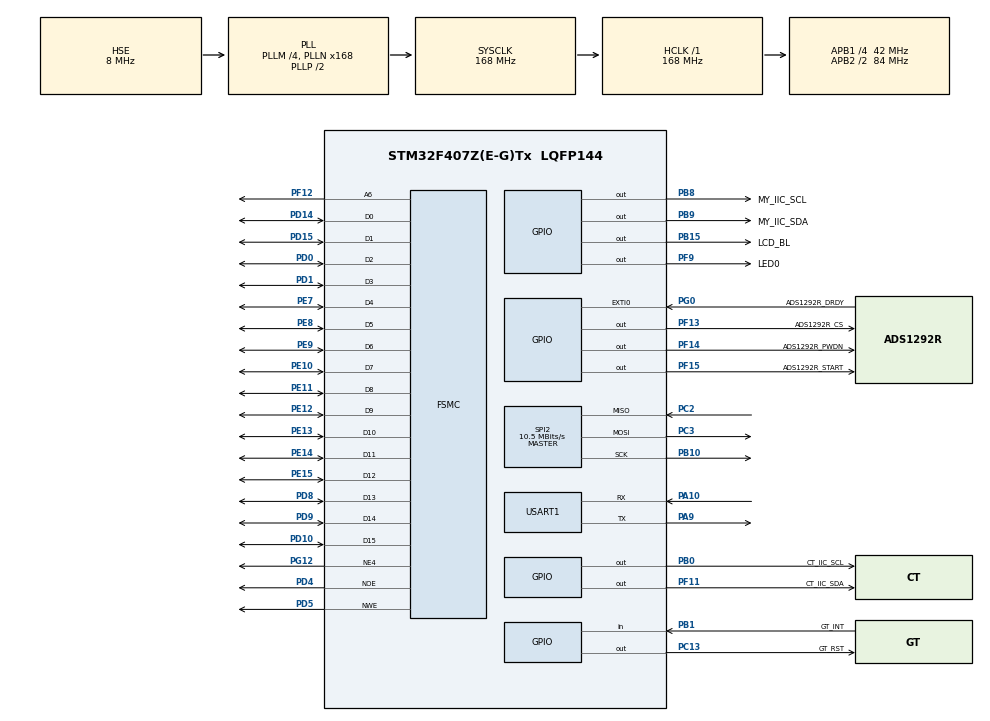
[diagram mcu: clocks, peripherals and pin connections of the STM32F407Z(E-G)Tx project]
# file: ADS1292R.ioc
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Dma.Request0=USART1_TX
Dma.USART1_TX.0.Direction=DMA_MEMORY_TO_PERIPH
Dma.USART1_TX.0.FIFOMode=DMA_FIFOMODE_DISABLE
Dma.USART1_TX.0.Instance=DMA2_Stream7
Dma.USART1_TX.0.MemDataAlignment=DMA_MDATAALIGN_BYTE
Dma.USART1_TX.0.MemInc=DMA_MINC_ENABLE
Dma.USART1_TX.0.Mode=DMA_NORMAL
Dma.USART1_TX.0.PeriphDataAlignment=DMA_PDATAALIGN_BYTE
Dma.USART1_TX.0.PeriphInc=DMA_PINC_DISABLE
Dma.USART1_TX.0.Priority=DMA_PRIORITY_LOW
FSMC.AddressSetupTime4=2
FSMC.DataSetupTime4=5
FSMC.ExtendedAddressSetupTime4=0
FSMC.ExtendedDataSetupTime4=3
FSMC.ExtendedMode4=FSMC_EXTENDED_MODE_ENABLE
Mcu.Family=STM32F4
Mcu.Name=STM32F407Z(E-G)Tx
Mcu.Package=LQFP144
NVIC.DMA2_Stream7_IRQn=true\:0\:0\:true\:false\:true\:false\:true
NVIC.EXTI0_IRQn=true\:1\:0\:true\:false\:true\:true\:true
NVIC.PriorityGroup=NVIC_PRIORITYGROUP_4
NVIC.TIM3_IRQn=true\:1\:0\:true\:false\:true\:true\:true
NVIC.TIM4_IRQn=true\:2\:0\:true\:false\:true\:true\:true
NVIC.TIM5_IRQn=true\:3\:0\:true\:false\:true\:true\:true
NVIC.USART1_IRQn=true\:0\:0\:false\:false\:true\:true\:true
PA10.Mode=Asynchronous
PA10.Signal=USART1_RX
PA13.Mode=Serial_Wire
PA13.Signal=SYS_JTMS-SWDIO
PA14.Mode=Serial_Wire
PA14.Signal=SYS_JTCK-SWCLK
PA9.Mode=Asynchronous
PA9.Signal=USART1_TX
PB0.GPIO_Label=CT_IIC_SCL
PB0.GPIO_PuPd=GPIO_PULLUP
PB0.GPIO_Speed=GPIO_SPEED_FREQ_VERY_HIGH
PB0.PinState=GPIO_PIN_SET
PB0.Signal=GPIO_Output
PB1.GPIO_Label=GT_INT
PB1.GPIO_PuPd=GPIO_PULLUP
PB1.Signal=GPIO_Input
PB10.Mode=Full_Duplex_Master
PB10.Signal=SPI2_SCK
PB15.GPIO_Label=LCD_BL
PB15.Signal=GPIO_Output
PB8.GPIO_Label=MY_IIC_SCL
PB8.GPIO_PuPd=GPIO_PULLUP
PB8.GPIO_Speed=GPIO_SPEED_FREQ_HIGH
PB8.PinState=GPIO_PIN_SET
PB8.Signal=GPIO_Output
PB9.GPIO_Label=MY_IIC_SDA
PB9.GPIO_PuPd=GPIO_PULLUP
PB9.GPIO_Speed=GPIO_SPEED_FREQ_HIGH
PB9.PinState=GPIO_PIN_SET
PB9.Signal=GPIO_Output
PC13-ANTI_TAMP.GPIO_Label=GT_RST
PC13-ANTI_TAMP.GPIO_PuPd=GPIO_PULLUP
PC13-ANTI_TAMP.GPIO_Speed=GPIO_SPEED_FREQ_LOW
PC13-ANTI_TAMP.PinState=GPIO_PIN_RESET
PC13-ANTI_TAMP.Signal=GPIO_Output
PC2.Mode=Full_Duplex_Master
PC2.Signal=SPI2_MISO
PC3.Mode=Full_Duplex_Master
PC3.Signal=SPI2_MOSI
PD0.Signal=FSMC_D2_DA2
PD1.Signal=FSMC_D3_DA3
PD10.Signal=FSMC_D15_DA15
PD14.Signal=FSMC_D0_DA0
PD15.Signal=FSMC_D1_DA1
PD4.Signal=FSMC_NOE
PD5.Signal=FSMC_NWE
PD8.Signal=FSMC_D13_DA13
PD9.Signal=FSMC_D14_DA14
PE10.Signal=FSMC_D7_DA7
PE11.Signal=FSMC_D8_DA8
PE12.Signal=FSMC_D9_DA9
PE13.Signal=FSMC_D10_DA10
PE14.Signal=FSMC_D11_DA11
PE15.Signal=FSMC_D12_DA12
PE7.Signal=FSMC_D4_DA4
PE8.Signal=FSMC_D5_DA5
PE9.Signal=FSMC_D6_DA6
PF11.GPIO_Label=CT_IIC_SDA
PF11.GPIO_ModeDefaultOutputPP=GPIO_MODE_OUTPUT_PP
PF11.GPIO_PuPd=GPIO_PULLUP
PF11.GPIO_Speed=GPIO_SPEED_FREQ_VERY_HIGH
PF11.PinState=GPIO_PIN_SET
PF11.Signal=GPIO_Output
PF12.Signal=FSMC_A6
PF13.GPIO_Label=ADS1292R_CS
PF13.GPIO_PuPd=GPIO_PULLUP
PF13.GPIO_Speed=GPIO_SPEED_FREQ_VERY_HIGH
PF13.PinState=GPIO_PIN_SET
PF13.Signal=GPIO_Output
PF14.GPIO_Label=ADS1292R_PWDN
PF14.PinState=GPIO_PIN_SET
PF14.Signal=GPIO_Output
PF15.GPIO_Label=ADS1292R_START
PF15.PinState=GPIO_PIN_SET
PF15.Signal=GPIO_Output
PF9.GPIO_Label=LED0
PF9.PinState=GPIO_PIN_SET
PF9.Signal=GPIO_Output
PG0.GPIO_Label=ADS1292R_DRDY
PG0.GPIO_ModeDefaultEXTI=GPIO_MODE_IT_FALLING
PG0.Signal=GPXTI0
PG12.Mode=NorPsramChipSelect4_4
PG12.Signal=FSMC_NE4
PH0-OSC_IN.Mode=HSE-External-Oscillator
PH0-OSC_IN.Signal=RCC_OSC_IN
PH1-OSC_OUT.Mode=HSE-External-Oscillator
PH1-OSC_OUT.Signal=RCC_OSC_OUT
ProjectManager.HeapSize=0x200
ProjectManager.StackSize=0x400
ProjectManager.TargetToolchain=SW4STM32
RCC.48MHZClocksFreq_Value=84000000
RCC.AHBFreq_Value=168000000
RCC.APB1CLKDivider=RCC_HCLK_DIV4
RCC.APB1Freq_Value=42000000
RCC.APB1TimFreq_Value=84000000
RCC.APB2CLKDivider=RCC_HCLK_DIV2
RCC.APB2Freq_Value=84000000
RCC.APB2TimFreq_Value=168000000
RCC.CortexFreq_Value=168000000
RCC.HCLKFreq_Value=168000000
RCC.HSE_VALUE=8000000
RCC.HSI_VALUE=16000000
RCC.LSE_VALUE=32768
RCC.PLLM=4
RCC.PLLN=168
RCC.PLLSourceVirtual=RCC_PLLSOURCE_HSE
RCC.SYSCLKFreq_VALUE=168000000
RCC.SYSCLKSource=RCC_SYSCLKSOURCE_PLLCLK
RCC.VCOOutputFreq_Value=336000000
SH.FSMC_A6.0=FSMC_A6,A6_4
SH.FSMC_D0_DA0.0=FSMC_D0,16b-d4
SH.FSMC_D10_DA10.0=FSMC_D10,16b-d4
SH.FSMC_D11_DA11.0=FSMC_D11,16b-d4
SH.FSMC_D12_DA12.0=FSMC_D12,16b-d4
SH.FSMC_D13_DA13.0=FSMC_D13,16b-d4
SH.FSMC_D14_DA14.0=FSMC_D14,16b-d4
SH.FSMC_D15_DA15.0=FSMC_D15,16b-d4
SH.FSMC_D1_DA1.0=FSMC_D1,16b-d4
SH.FSMC_D2_DA2.0=FSMC_D2,16b-d4
SH.FSMC_D3_DA3.0=FSMC_D3,16b-d4
SH.FSMC_D4_DA4.0=FSMC_D4,16b-d4
SH.FSMC_D5_DA5.0=FSMC_D5,16b-d4
SH.FSMC_D6_DA6.0=FSMC_D6,16b-d4
SH.FSMC_D7_DA7.0=FSMC_D7,16b-d4
SH.FSMC_D8_DA8.0=FSMC_D8,16b-d4
SH.FSMC_D9_DA9.0=FSMC_D9,16b-d4
SH.FSMC_NOE.0=FSMC_NOE,Lcd4
SH.FSMC_NWE.0=FSMC_NWE,Lcd4
SPI2.BaudRatePrescaler=SPI_BAUDRATEPRESCALER_4
SPI2.CLKPhase=SPI_PHASE_2EDGE
SPI2.CalculateBaudRate=10.5 MBits/s
SPI2.Direction=SPI_DIRECTION_2LINES
SPI2.Mode=SPI_MODE_MASTER
SPI2.VirtualType=VM_MASTER
TIM3.AutoReloadPreload=TIM_AUTORELOAD_PRELOAD_ENABLE
TIM3.Period=999
TIM3.Prescaler=83
TIM4.AutoReloadPreload=TIM_AUTORELOAD_PRELOAD_ENABLE
TIM4.Period=999
TIM4.Prescaler=839
TIM5.AutoReloadPreload=TIM_AUTORELOAD_PRELOAD_ENABLE
TIM5.Period=8399
TIM5.Prescaler=4999
USART1.VirtualMode=VM_ASYNC
VP_CRC_VS_CRC.Mode=CRC_Activate
VP_TIM3_VS_ClockSourceINT.Mode=Internal
VP_TIM4_VS_ClockSourceINT.Mode=Internal
VP_TIM5_VS_ClockSourceINT.Mode=Internal
board=custom

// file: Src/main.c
/* USER CODE BEGIN Header */
/**
  ******************************************************************************
  * @file           : main.c
  * @brief          : Main program body
  ******************************************************************************
  * @attention
  *
  * <h2><center>&copy; Copyright (c) 2020 STMicroelectronics.
  * All rights reserved.</center></h2>
  *
  * This software component is licensed by ST under BSD 3-Clause license,
  * the "License"; You may not use this file except in compliance with the
  * License. You may obtain a copy of the License at:
  *                        opensource.org/licenses/BSD-3-Clause
  *
  ******************************************************************************
  */
/* USER CODE END Header */
#include "main.h"
#include "crc.h"
#include "dma.h"
#include "spi.h"
#include "tim.h"
#include "usart.h"
#include "gpio.h"
#include "fsmc.h"

/* USER CODE BEGIN Includes */
#include "retarget.h"
#include "delay.h"
#include "ILI93xx.h"
//#include "GUI.h"
#include "touch.h"
#include "emwinDemo.h"
#include "DIALOG.h"
#include "ads1292r.h"
#include "ECG_Process.h"
#include <stdio.h>
/* USER CODE END Includes */

void SystemClock_Config(void);

int main(void)
{
  /* USER CODE BEGIN 1 */
//    WM_MESSAGE message;
//    message.MsgId = WM_SHOW_MSG;

  /* USER CODE END 1 */

  /* MCU Configuration--------------------------------------------------------*/

  /* Reset of all peripherals, Initializes the Flash interface and the Systick. */
  HAL_Init();

  /* Configure the system clock */
  SystemClock_Config();

  /* Initialize all configured peripherals */
  MX_GPIO_Init();
  MX_DMA_Init();
  MX_USART1_UART_Init();
  MX_FSMC_Init();
  MX_CRC_Init();
  MX_TIM4_Init();
  MX_TIM5_Init();
  MX_TIM3_Init();
  MX_SPI2_Init();
  /* USER CODE BEGIN 2 */
    RetargetInit(&huart1);
    delay_init(168);
    TFTLCD_Init();
    TP_Init();
    HAL_NVIC_DisableIRQ(EXTI0_IRQn);
    ads1292_Init();

//    WM_SetCreateFlags(WM_CF_MEMDEV);
//    GUI_Init();//GUI初始化之后就需要用GUI_Delay了
//    //更换皮肤
//    BUTTON_SetDefaultSkin(BUTTON_SKIN_FLEX);
//    CHECKBOX_SetDefaultSkin(CHECKBOX_SKIN_FLEX);
//    DROPDOWN_SetDefaultSkin(DROPDOWN_SKIN_FLEX);
//    FRAMEWIN_SetDefaultSkin(FRAMEWIN_SKIN_FLEX);
//    HEADER_SetDefaultSkin(HEADER_SKIN_FLEX);
//    MENU_SetDefaultSkin(MENU_SKIN_FLEX);
//    MULTIPAGE_SetDefaultSkin(MULTIPAGE_SKIN_FLEX);
//    PROGBAR_SetDefaultSkin(PROGBAR_SKIN_FLEX);
//    RADIO_SetDefaultSkin(RADIO_SKIN_FLEX);
//    SCROLLBAR_SetDefaultSkin(SCROLLBAR_SKIN_FLEX);
//    SLIDER_SetDefaultSkin(SLIDER_SKIN_FLEX);
//    SPINBOX_SetDefaultSkin(SPINBOX_SKIN_FLEX);
//    emwinDemo();

    LCD_ShowString(30,100,150,24,24,"heart rate:");

    HAL_TIM_Base_Start_IT(&htim3);
    HAL_TIM_Base_Start_IT(&htim4);
    HAL_TIM_Base_Start_IT(&htim5);

    HAL_NVIC_EnableIRQ(EXTI0_IRQn);             //使能中断线0

  /* USER CODE END 2 */

  /* Infinite loop */
  while (1)
  {

    /* USER CODE BEGIN 3 */
      if(ads1292_recive_flag)
      {
          ECG_Process();
          HAL_UART_Transmit_DMA(&huart1, DataPacketHeader, 13);     // transmit the data over uart

          ads1292_recive_flag=0;

          LCD_ShowxNum(200,100,global_HeartRate,4,24,0);

//          WM_SendMessage(WM_GetClientWindow(hWin_user), &message);//发送消息给窗口
      }
      GUI_Delay(1);
  }
  /* USER CODE END 3 */
}

void SystemClock_Config(void)
{
  RCC_OscInitTypeDef RCC_OscInitStruct = {0};
  RCC_ClkInitTypeDef RCC_ClkInitStruct = {0};

  /** Configure the main internal regulator output voltage
  */
  __HAL_RCC_PWR_CLK_ENABLE();
  __HAL_PWR_VOLTAGESCALING_CONFIG(PWR_REGULATOR_VOLTAGE_SCALE1);
  /** Initializes the RCC Oscillators according to the specified parameters
  * in the RCC_OscInitTypeDef structure.
  */
  RCC_OscInitStruct.OscillatorType = RCC_OSCILLATORTYPE_HSE;
  RCC_OscInitStruct.HSEState = RCC_HSE_ON;
  RCC_OscInitStruct.PLL.PLLState = RCC_PLL_ON;
  RCC_OscInitStruct.PLL.PLLSource = RCC_PLLSOURCE_HSE;
  RCC_OscInitStruct.PLL.PLLM = 4;
  RCC_OscInitStruct.PLL.PLLN = 168;
  RCC_OscInitStruct.PLL.PLLP = RCC_PLLP_DIV2;
  RCC_OscInitStruct.PLL.PLLQ = 4;
  if (HAL_RCC_OscConfig(&RCC_OscInitStruct) != HAL_OK)
  {
    Error_Handler();
  }
  /** Initializes the CPU, AHB and APB buses clocks
  */
  RCC_ClkInitStruct.ClockType = RCC_CLOCKTYPE_HCLK|RCC_CLOCKTYPE_SYSCLK
                              |RCC_CLOCKTYPE_PCLK1|RCC_CLOCKTYPE_PCLK2;
  RCC_ClkInitStruct.SYSCLKSource = RCC_SYSCLKSOURCE_PLLCLK;
  RCC_ClkInitStruct.AHBCLKDivider = RCC_SYSCLK_DIV1;
  RCC_ClkInitStruct.APB1CLKDivider = RCC_HCLK_DIV4;
  RCC_ClkInitStruct.APB2CLKDivider = RCC_HCLK_DIV2;

  if (HAL_RCC_ClockConfig(&RCC_ClkInitStruct, FLASH_LATENCY_5) != HAL_OK)
  {
    Error_Handler();
  }
}

void Error_Handler(void)
{
}

/************************ (C) COPYRIGHT STMicroelectronics *****END OF FILE****/
